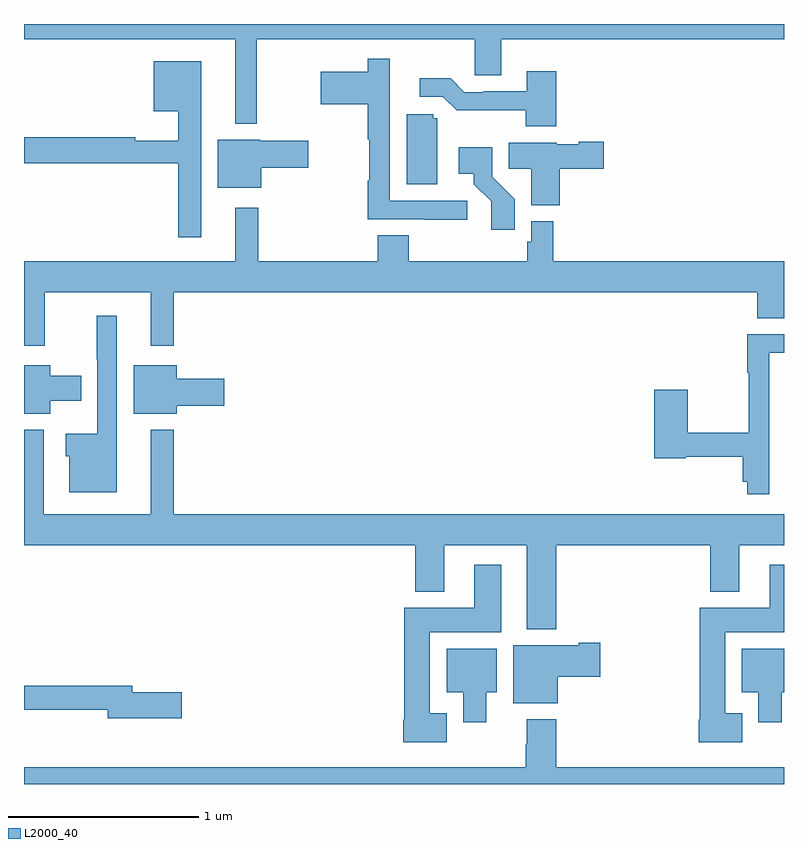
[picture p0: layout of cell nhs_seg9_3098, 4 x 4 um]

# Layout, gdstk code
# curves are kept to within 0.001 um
import gdstk
lib = gdstk.Library(unit=1e-6, precision=1e-09)
def P(c, l, *ps):  # polygons
    for p in ps: c.add(gdstk.Polygon(p, *l))
L2000_40 = (2000, 40)

nhs_seg9_3098 = lib.new_cell('nhs_seg9_3098')
P(nhs_seg9_3098, L2000_40, [(290.225,1196.42),(291.372,1196.42),(291.372,1196.23),(291.511,1196.23),(291.511,1196.42),(293,1196.42),(293,1196.5),(289,1196.5),(289,1196.42),(290.111,1196.42),(290.111,1195.976),(290.225,1195.976)],
  [(291.334,1195.569),(290.925,1195.569),(290.925,1196.094),(290.926,1196.094),(290.926,1196.317),(290.809,1196.317),(290.809,1196.248),(290.562,1196.248),(290.562,1196.078),(290.809,1196.078),(290.809,1195.894),(290.817,1195.894),(290.817,1195.676),(290.809,1195.676),(290.809,1195.473),(291.109,1195.473),(291.109,1195.471),(291.334,1195.471)],
  [(289.933,1196.305),(289.682,1196.305),(289.682,1196.042),(289.812,1196.042),(289.812,1195.885),(289.586,1195.885),(289.586,1195.904),(289,1195.904),(289,1195.768),(289.812,1195.768),(289.812,1195.377),(289.933,1195.377)],
  [(291.8,1196.251),(291.647,1196.251),(291.647,1196.145),(291.418,1196.145),(291.418,1196.142),(291.318,1196.142),(291.245,1196.215),(291.084,1196.215),(291.084,1196.118),(291.204,1196.118),(291.277,1196.045),(291.64,1196.046),(291.64,1195.961),(291.8,1195.961)],
  [(291.175,1196.004),(291.153,1196.004),(291.153,1196.025),(291.014,1196.025),(291.014,1195.656),(291.175,1195.656)],
  [(290.248,1195.744),(290.497,1195.744),(290.497,1195.886),(290.244,1195.886),(290.244,1195.891),(290.021,1195.891),(290.021,1195.637),(290.248,1195.637)],
  [(291.821,1195.738),(292.051,1195.738),(292.051,1195.88),(291.921,1195.88),(291.921,1195.867),(291.804,1195.867),(291.804,1195.876),(291.55,1195.876),(291.55,1195.738),(291.671,1195.738),(291.671,1195.547),(291.821,1195.547)],
  [(291.584,1195.578),(291.465,1195.697),(291.465,1195.852),(291.288,1195.852),(291.288,1195.712),(291.368,1195.712),(291.368,1195.657),(291.459,1195.567),(291.459,1195.416),(291.584,1195.416)],
  [(292.859,1194.952),(293,1194.952),(293,1195.252),(291.785,1195.252),(291.785,1195.462),(291.669,1195.462),(291.669,1195.353),(291.649,1195.353),(291.649,1195.252),(291.026,1195.252),(291.026,1195.388),(290.861,1195.388),(290.861,1195.252),(290.233,1195.252),(290.233,1195.534),(290.111,1195.534),(290.111,1195.252),(289,1195.252),(289,1195.088),(289.001,1195.088),(289.001,1194.807),(289.108,1194.807),(289.108,1195.088),(289.667,1195.088),(289.667,1194.807),(289.789,1194.807),(289.789,1195.088),(292.859,1195.088)],
  [(289.489,1194.964),(289.383,1194.964),(289.383,1194.736),(289.385,1194.736),(289.385,1194.343),(289.22,1194.343),(289.22,1194.225),(289.238,1194.225),(289.238,1194.035),(289.489,1194.035)],
  [(292.923,1194.771),(293,1194.771),(293,1194.867),(292.807,1194.867),(292.807,1194.664),(292.815,1194.664),(292.815,1194.35),(292.494,1194.35),(292.494,1194.574),(292.316,1194.574),(292.316,1194.214),(292.482,1194.214),(292.482,1194.222),(292.783,1194.222),(292.783,1194.092),(292.807,1194.092),(292.807,1194.024),(292.923,1194.024)],
  [(289.804,1194.491),(290.053,1194.491),(290.053,1194.633),(289.804,1194.633),(289.804,1194.703),(289.577,1194.703),(289.577,1194.449),(289.804,1194.449)],
  [(289.138,1194.518),(289.3,1194.518),(289.3,1194.648),(289.138,1194.648),(289.138,1194.703),(289,1194.703),(289,1194.449),(289.138,1194.449)],
  [(291.8,1193.756),(292.613,1193.756),(292.613,1193.513),(292.765,1193.513),(292.765,1193.756),(293,1193.756),(293,1193.92),(289.789,1193.92),(289.789,1194.364),(289.667,1194.364),(289.667,1193.92),(289.105,1193.92),(289.105,1194.364),(289.001,1194.364),(289.001,1193.92),(289,1193.92),(289,1193.756),(291.059,1193.756),(291.059,1193.513),(291.211,1193.513),(291.211,1193.756),(291.647,1193.756),(291.647,1193.315),(291.8,1193.315)],
  [(291.226,1192.873),(291.136,1192.873),(291.136,1193.3),(291.511,1193.3),(291.511,1193.653),(291.371,1193.653),(291.371,1193.428),(291.002,1193.428),(291.002,1192.839),(290.996,1192.839),(290.996,1192.721),(291.226,1192.721)],
  [(292.78,1192.873),(292.69,1192.873),(292.69,1193.3),(293,1193.3),(293,1193.653),(292.925,1193.653),(292.925,1193.428),(292.556,1193.428),(292.556,1192.839),(292.55,1192.839),(292.55,1192.721),(292.78,1192.721)],
  [(291.808,1193.065),(292.033,1193.065),(292.033,1193.243),(291.92,1193.243),(291.92,1193.23),(291.575,1193.23),(291.575,1192.925),(291.808,1192.925)],
  [(292.987,1192.982),(293,1192.982),(293,1193.212),(292.778,1193.212),(292.778,1192.982),(292.865,1192.982),(292.865,1192.824),(292.987,1192.824)],
  [(291.433,1192.982),(291.487,1192.982),(291.487,1193.212),(291.224,1193.212),(291.224,1192.982),(291.311,1192.982),(291.311,1192.824),(291.433,1192.824)],
  [(289.831,1192.982),(289.57,1192.982),(289.57,1193.018),(289,1193.018),(289,1192.89),(289.442,1192.89),(289.442,1192.847),(289.831,1192.847)],
  [(291.647,1192.84),(291.647,1192.709),(291.64,1192.709),(291.64,1192.588),(289,1192.588),(289,1192.5),(293,1192.5),(293,1192.588),(291.8,1192.588),(291.8,1192.84)])

lib.write_gds('nhs_seg9_3098.gds')
